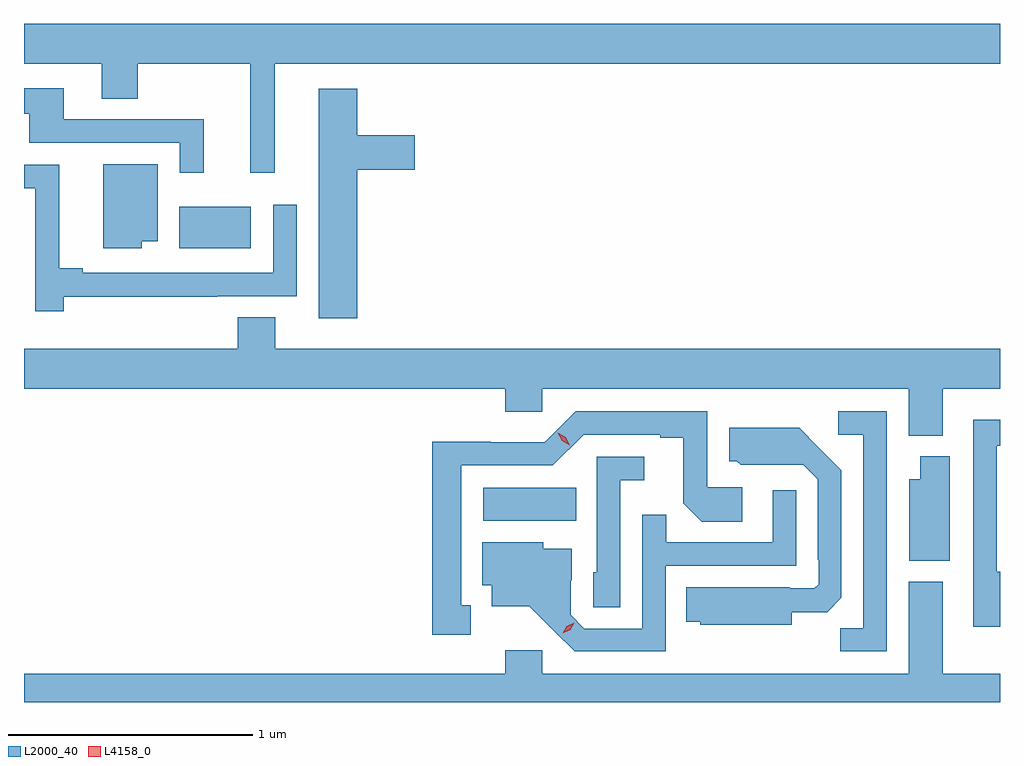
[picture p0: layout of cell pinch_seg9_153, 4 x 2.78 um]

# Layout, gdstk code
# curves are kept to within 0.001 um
import gdstk
lib = gdstk.Library(unit=1e-6, precision=1e-09)
def R(c, l, rs):  # rectangles x0, y0, x1, y1
    for r in rs: c.add(gdstk.rectangle(r[:2], r[2:], *l))
def P(c, l, *ps):  # polygons
    for p in ps: c.add(gdstk.Polygon(p, *l))
L2000_40 = (2000, 40)
L4158_0 = (4158, 0)

pinch_seg9_153 = lib.new_cell('pinch_seg9_153')
R(pinch_seg9_153, L2000_40, [(700.146,1165.244,700.526,1165.378), (698.9,1166.36,699.193,1166.53)])
P(pinch_seg9_153, L2000_40, [(699.29,1167.116),(702.263,1167.116),(702.263,1167.28),(698.263,1167.28),(698.263,1167.116),(698.582,1167.116),(698.582,1166.974),(698.73,1166.974),(698.73,1167.116),(699.191,1167.116),(699.191,1166.67),(699.29,1166.67)],
  [(698.999,1166.889),(698.425,1166.889),(698.425,1167.016),(698.263,1167.016),(698.263,1166.912),(698.285,1166.912),(698.285,1166.793),(698.901,1166.793),(698.901,1166.67),(698.999,1166.67)],
  [(699.629,1166.681),(699.865,1166.681),(699.865,1166.823),(699.629,1166.823),(699.629,1167.013),(699.47,1167.013),(699.47,1166.073),(699.629,1166.073)],
  [(698.746,1166.39),(698.812,1166.39),(698.812,1166.704),(698.588,1166.704),(698.588,1166.36),(698.746,1166.36)],
  [(698.426,1166.162),(699.056,1166.162),(699.056,1166.163),(699.381,1166.163),(699.381,1166.539),(699.285,1166.539),(699.285,1166.259),(698.503,1166.259),(698.503,1166.279),(698.408,1166.279),(698.408,1166.703),(698.263,1166.703),(698.263,1166.607),(698.31,1166.607),(698.31,1166.103),(698.426,1166.103)],
  [(702.028,1165.784),(702.263,1165.784),(702.263,1165.948),(699.292,1165.948),(699.292,1166.078),(699.14,1166.078),(699.14,1165.948),(698.263,1165.948),(698.263,1165.784),(700.235,1165.784),(700.235,1165.691),(700.386,1165.691),(700.386,1165.784),(701.888,1165.784),(701.888,1165.592),(702.028,1165.592)],
  [(701.799,1165.692),(701.601,1165.692),(701.601,1165.596),(701.703,1165.596),(701.703,1164.803),(701.608,1164.803),(701.608,1164.708),(701.799,1164.708)],
  [(700.093,1164.897),(700.054,1164.897),(700.054,1165.47),(700.431,1165.47),(700.557,1165.596),(700.871,1165.596),(700.871,1165.584),(700.965,1165.584),(700.965,1165.316),(701.041,1165.24),(701.206,1165.24),(701.206,1165.38),(701.064,1165.38),(701.064,1165.692),(700.524,1165.692),(700.398,1165.566),(700.176,1165.566),(700.176,1165.568),(699.936,1165.568),(699.936,1164.777),(700.093,1164.777)],
  [(702.263,1165.035),(702.249,1165.035),(702.249,1165.551),(702.263,1165.551),(702.263,1165.657),(702.153,1165.657),(702.153,1164.81),(702.263,1164.81)],
  [(701.41,1164.869),(701.554,1164.869),(701.613,1164.928),(701.613,1165.45),(701.441,1165.624),(701.153,1165.624),(701.153,1165.488),(701.184,1165.488),(701.2,1165.472),(701.457,1165.473),(701.517,1165.413),(701.517,1165.084),(701.52,1165.084),(701.52,1164.984),(701.502,1164.966),(701.402,1164.966),(701.402,1164.97),(700.978,1164.97),(700.978,1164.83),(701.034,1164.83),(701.034,1164.818),(701.41,1164.818)],
  [(702.058,1165.507),(701.936,1165.507),(701.936,1165.414),(701.891,1165.414),(701.891,1165.079),(702.058,1165.079)],
  [(700.707,1165.409),(700.804,1165.409),(700.804,1165.506),(700.611,1165.506),(700.611,1165.032),(700.596,1165.032),(700.596,1164.889),(700.707,1164.889)],
  [(700.893,1165.059),(701.427,1165.059),(701.427,1165.369),(701.331,1165.369),(701.331,1165.155),(700.895,1165.155),(700.895,1165.268),(700.797,1165.268),(700.797,1164.801),(700.56,1164.801),(700.503,1164.858),(700.503,1165),(700.507,1165),(700.507,1165.129),(700.392,1165.129),(700.392,1165.156),(700.142,1165.156),(700.142,1164.98),(700.181,1164.98),(700.181,1164.893),(700.333,1164.893),(700.52,1164.708),(700.893,1164.708)],
  [(702.263,1164.616),(702.028,1164.616),(702.028,1164.994),(701.888,1164.994),(701.888,1164.616),(700.386,1164.616),(700.386,1164.712),(700.235,1164.712),(700.235,1164.616),(698.263,1164.616),(698.263,1164.5),(702.263,1164.5)])
P(pinch_seg9_153, L4158_0, [(700.47,1164.782),(700.47,1164.782),(700.488,1164.811),(700.518,1164.826),(700.519,1164.826),(700.519,1164.825),(700.501,1164.796),(700.47,1164.782)],
  [(700.5,1165.553),(700.468,1165.572),(700.451,1165.604),(700.451,1165.604),(700.451,1165.604),(700.483,1165.585),(700.5,1165.553),(700.5,1165.553)])

lib.write_gds('pinch_seg9_153.gds')
